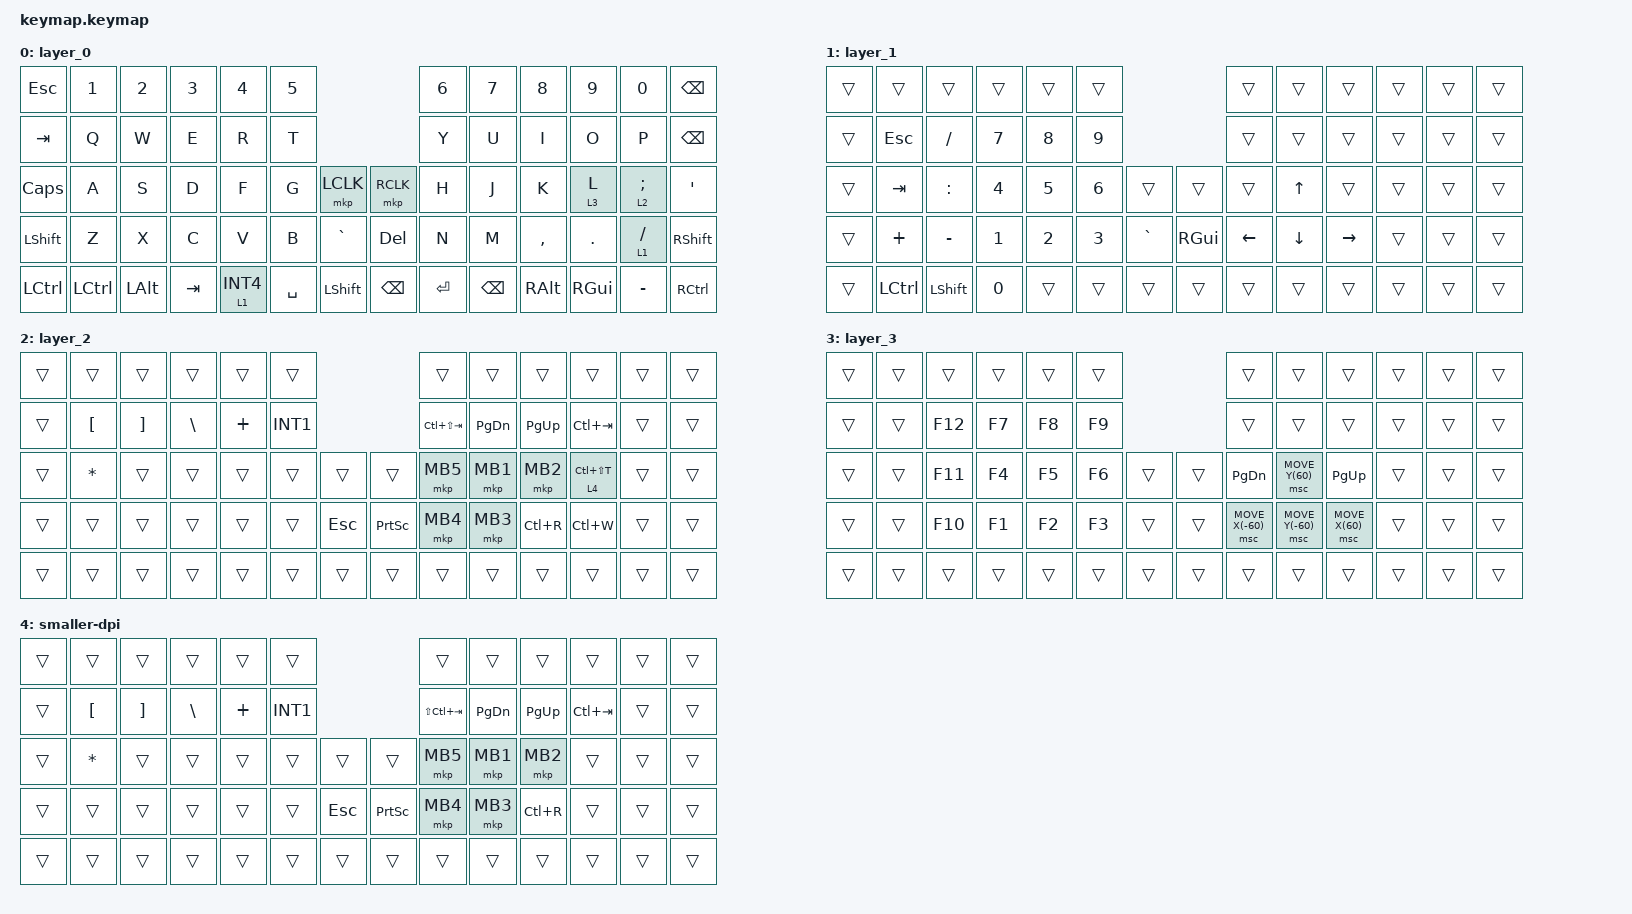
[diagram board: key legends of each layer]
#include <behaviors.dtsi>
#include <dt-bindings/zmk/bt.h>
#include <dt-bindings/zmk/keys.h>
#include <dt-bindings/zmk/pointing.h>

/ {
    combos {
        compatible = "zmk,combos";

        bt_clear {
            bindings = <&bt BT_CLR>;
            key-positions = <28 29>;
            layers = <2>;
        };
    };

    keymap {
        compatible = "zmk,keymap";

        layer_0 {
            bindings = <
&kp ESC    &kp N1     &kp N2        &kp N3   &kp N4      &kp N5                                    &kp N6     &kp N7    &kp N8     &kp N9      &kp N0           &kp BSPC
&kp TAB    &kp Q      &kp W         &kp E    &kp R       &kp T                                     &kp Y      &kp U     &kp I      &kp O       &kp P            &kp BSPC
&kp CAPS   &kp A      &kp S         &kp D    &kp F       &kp G      &mkp LCLK       &mkp RCLK      &kp H      &kp J     &kp K      &lt 3 L     &lt 2 SEMICOLON  &kp SQT
&kp LSHFT  &kp Z      &kp X         &kp C    &kp V       &kp B      &kp GRAVE       &kp DEL        &kp N      &kp M     &kp COMMA  &kp PERIOD  &lt 1 SLASH      &kp RSHFT
&kp LCTRL  &kp LCTRL  &kp LEFT_ALT  &kp TAB  &lt 1 INT4  &kp SPACE  &kp LEFT_SHIFT  &kp BACKSPACE  &kp ENTER  &kp BSPC  &kp RALT   &kp RGUI    &kp MINUS        &kp RCTRL
            >;
        };

        layer_1 {
            bindings = <
&trans  &trans      &trans          &trans        &trans        &trans                                  &trans          &trans          &trans           &trans  &trans  &trans
&trans  &kp ESCAPE  &kp SLASH       &kp NUMBER_7  &kp NUMBER_8  &kp NUMBER_9                            &trans          &trans          &trans           &trans  &trans  &trans
&trans  &kp TAB     &kp COLON       &kp NUMBER_4  &kp NUMBER_5  &kp NUMBER_6  &trans     &trans         &trans          &kp UP_ARROW    &trans           &trans  &trans  &trans
&trans  &kp PLUS    &kp MINUS       &kp NUMBER_1  &kp NUMBER_2  &kp NUMBER_3  &kp GRAVE  &kp RIGHT_GUI  &kp LEFT_ARROW  &kp DOWN_ARROW  &kp RIGHT_ARROW  &trans  &trans  &trans
&trans  &kp LCTRL   &kp LEFT_SHIFT  &kp NUMBER_0  &trans        &trans        &trans     &trans         &trans          &trans          &trans           &trans  &trans  &trans
            >;
        };

        layer_2 {
            bindings = <
&trans  &trans            &trans             &trans         &trans    &trans                              &trans           &trans         &trans       &trans           &trans  &trans
&trans  &kp LEFT_BRACKET  &kp RIGHT_BRACKET  &kp BACKSLASH  &kp PLUS  &kp INT1                            &kp LC(LS(TAB))  &kp PAGE_DOWN  &kp PAGE_UP  &kp LC(TAB)      &trans  &trans
&trans  &kp ASTERISK      &trans             &trans         &trans    &trans    &trans   &trans           &mkp MB5         &mkp MB1       &mkp MB2     &lt 4 LC(LS(T))  &trans  &trans
&trans  &trans            &trans             &trans         &trans    &trans    &kp ESC  &kp PRINTSCREEN  &mkp MB4         &mkp MB3       &kp LC(R)    &kp LC(W)        &trans  &trans
&trans  &trans            &trans             &trans         &trans    &trans    &trans   &trans           &trans           &trans         &trans       &trans           &trans  &trans
            >;
        };

        layer_3 {
            bindings = <
&trans  &trans  &trans   &trans  &trans  &trans                  &trans            &trans            &trans           &trans  &trans  &trans
&trans  &trans  &kp F12  &kp F7  &kp F8  &kp F9                  &trans            &trans            &trans           &trans  &trans  &trans
&trans  &trans  &kp F11  &kp F4  &kp F5  &kp F6  &trans  &trans  &kp PAGE_DOWN     &msc MOVE_Y(60)   &kp PAGE_UP      &trans  &trans  &trans
&trans  &trans  &kp F10  &kp F1  &kp F2  &kp F3  &trans  &trans  &msc MOVE_X(-60)  &msc MOVE_Y(-60)  &msc MOVE_X(60)  &trans  &trans  &trans
&trans  &trans  &trans   &trans  &trans  &trans  &trans  &trans  &trans            &trans            &trans           &trans  &trans  &trans
            >;
        };

        smaller-dpi {
            bindings = <
&trans  &trans            &trans             &trans         &trans    &trans                                 &trans           &trans         &trans       &trans       &trans  &trans
&trans  &kp LEFT_BRACKET  &kp RIGHT_BRACKET  &kp BACKSLASH  &kp PLUS  &kp INT1                               &kp LS(LC(TAB))  &kp PAGE_DOWN  &kp PAGE_UP  &kp LC(TAB)  &trans  &trans
&trans  &kp ASTERISK      &trans             &trans         &trans    &trans    &trans      &trans           &mkp MB5         &mkp MB1       &mkp MB2     &trans       &trans  &trans
&trans  &trans            &trans             &trans         &trans    &trans    &kp ESCAPE  &kp PRINTSCREEN  &mkp MB4         &mkp MB3       &kp LC(R)    &trans       &trans  &trans
&trans  &trans            &trans             &trans         &trans    &trans    &trans      &trans           &trans           &trans         &trans       &trans       &trans  &trans
            >;
        };
    };
};
